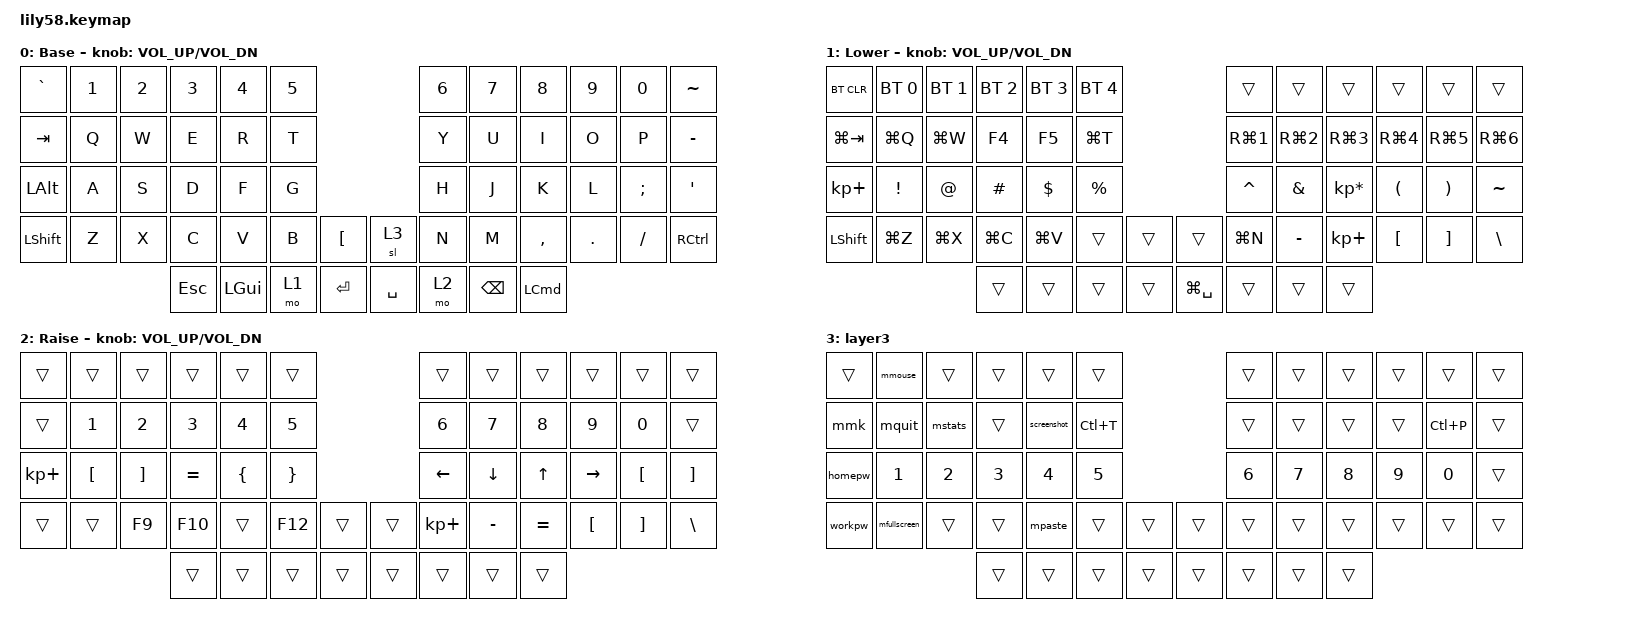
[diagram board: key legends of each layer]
/*
 * Copyright (c) 2020 The ZMK Contributors
 *
 * SPDX-License-Identifier: MIT
 */

#include <behaviors.dtsi>
#include <dt-bindings/zmk/bt.h>
#include <dt-bindings/zmk/keys.h>

/ {
    macros {
        workpw: workpw {
            compatible = "zmk,behavior-macro";
            #binding-cells = <0>;
            bindings = <&kp LS(S) &kp N &kp E &kp H &kp A &kp N1 &kp N9 &kp N9 &kp N4 &kp LS(S) &kp I &kp M &kp R &kp A &kp N &kp N1 &kp N9 &kp N9 &kp N6 &kp EXCL>;
            label = "WORKPW";
        };

        homepw: homepw {
            compatible = "zmk,behavior-macro";
            #binding-cells = <0>;
            bindings = <&kp S &kp I &kp C &kp K &kp M &kp A &kp N &kp N1>;
            label = "HOMEPW";
        };

        mquit: mquit {
            compatible = "zmk,behavior-macro";
            #binding-cells = <0>;
            bindings =
                <&macro_press>,
                <&kp LCTRL &kp LEFT_ALT &kp LEFT_SHIFT &kp Q>,
                <&macro_release>,
                <&kp LCTRL &kp LEFT_ALT &kp LEFT_SHIFT &kp Q>;

            label = "MQUIT";
            wait-ms = <0>;
            tap-ms = <0>;
        };

        mfullscreen: mfullscreen {
            compatible = "zmk,behavior-macro";
            #binding-cells = <0>;
            bindings =
                <&macro_press>,
                <&kp LCTRL &kp LEFT_ALT &kp LEFT_SHIFT &kp X>,
                <&macro_release>,
                <&kp LCTRL &kp LEFT_ALT &kp LEFT_SHIFT &kp X>;

            label = "MFULLSCREEN";
        };

        mmouse: mmouse {
            compatible = "zmk,behavior-macro";
            #binding-cells = <0>;
            bindings =
                <&macro_press>,
                <&kp LCTRL &kp LEFT_ALT &kp LEFT_SHIFT &kp M>,
                <&macro_release>,
                <&kp LCTRL &kp LEFT_ALT &kp LEFT_SHIFT &kp M>;

            label = "MMOUSE";
        };

        mstats: mstats {
            compatible = "zmk,behavior-macro";
            #binding-cells = <0>;
            bindings =
                <&macro_press>,
                <&kp LCTRL &kp LEFT_ALT &kp LEFT_SHIFT &kp S>,
                <&macro_release>,
                <&kp LCTRL &kp LEFT_ALT &kp LEFT_SHIFT &kp S>;

            label = "MSTATS";
        };

        mmk: new_macro {
            compatible = "zmk,behavior-macro";
            #binding-cells = <0>;
            bindings =
                <&macro_press>,
                <&kp LCTRL &kp LEFT_ALT &kp LEFT_SHIFT &kp Z>,
                <&macro_release>,
                <&kp LCTRL &kp LEFT_ALT &kp LEFT_SHIFT &kp Z>;

            label = "NEW_MACRO";
        };

        mpaste: mpaste {
            compatible = "zmk,behavior-macro";
            #binding-cells = <0>;
            bindings =
                <&macro_press>,
                <&kp LCTRL &kp LEFT_ALT &kp LEFT_SHIFT &kp V>,
                <&macro_release>,
                <&kp LCTRL &kp LEFT_ALT &kp LEFT_SHIFT &kp V>;

            label = "MPASTE";
        };

        screenshot: screenshot {
            compatible = "zmk,behavior-macro";
            #binding-cells = <0>;
            bindings =
                <&macro_press>,
                <&kp LCTRL &kp LCMD &kp LEFT_SHIFT &kp NUMBER_4>,
                <&macro_release>,
                <&kp LCTRL &kp LCMD &kp LEFT_SHIFT &kp NUMBER_4>;

            label = "SCREENSHOT";
        };
    };

    keymap {
        compatible = "zmk,keymap";

        default_layer {
            // ------------------------------------------------------------------------------------------------------------
            // |  ESC  |  1  |  2  |  3   |  4   |  5   |                   |  6   |  7    |  8    |  9   |   0   |   `   |
            // |  TAB  |  Q  |  W  |  E   |  R   |  T   |                   |  Y   |  U    |  I    |  O   |   P   |   -   |
            // |  CTRL |  A  |  S  |  D   |  F   |  G   |                   |  H   |  J    |  K    |  L   |   ;   |   '   |
            // | SHIFT |  Z  |  X  |  C   |  V   |  B   |   "["  |  |  "]"  |  N   |  M    |  ,    |  .   |   /   | SHIFT |
            //                     | ALT  | GUI  | LOWER|  SPACE |  | ENTER | RAISE| BSPC  | GUI   |

            display-name = "Base";
            bindings = <
&kp GRAVE  &kp N1  &kp N2  &kp N3      &kp N4    &kp N5                          &kp N6  &kp N7    &kp N8            &kp N9   &kp N0    &kp TILDE
&kp TAB    &kp Q   &kp W   &kp E       &kp R     &kp T                           &kp Y   &kp U     &kp I             &kp O    &kp P     &kp MINUS
&kp LALT   &kp A   &kp S   &kp D       &kp F     &kp G                           &kp H   &kp J     &kp K             &kp L    &kp SEMI  &kp SQT
&kp LSHFT  &kp Z   &kp X   &kp C       &kp V     &kp B   &kp LBKT     &sl 3      &kp N   &kp M     &kp COMMA         &kp DOT  &kp FSLH  &kp RCTRL
                           &kp ESCAPE  &kp LGUI  &mo 1   &kp ENTER    &kp SPACE  &mo 2   &kp BSPC  &kp LEFT_COMMAND
            >;

            sensor-bindings = <&inc_dec_kp C_VOL_UP C_VOL_DN>;
        };

        lower_layer {
            // ------------------------------------------------------------------------------------------------------------
            // | BTCLR | BT1 | BT2 |  BT3 |  BT4 |  BT5 |                   |      |       |       |      |       |       |
            // |  F1   |  F2 |  F3 |  F4  |  F5  |  F6  |                   |  F7  |  F8   |  F9   |  F10 |  F11  |  F12  |
            // |   `   |  !  |  @  |  #   |  $   |  %   |                   |  ^   |  &    |  *    |  (   |   )   |   ~   |
            // |       |     |     |      |      |      |        |  |       |      |  _    |  +    |  {   |   }   |  "|"  |
            //                     |      |      |      |        |  |       |      |       |       |

            display-name = "Lower";
            bindings = <
&bt BT_CLR   &bt BT_SEL 0  &bt BT_SEL 1  &bt BT_SEL 2  &bt BT_SEL 3  &bt BT_SEL 4                           &trans            &trans            &trans            &trans            &trans             &trans
&kp LG(TAB)  &kp LG(Q)     &kp LG(W)     &kp F4        &kp F5        &kp LG(T)                              &kp RG(NUMBER_1)  &kp RG(NUMBER_2)  &kp RG(NUMBER_3)  &kp RG(NUMBER_4)  &kp RG(N5)         &kp RG(NUMBER_6)
&kp KP_PLUS  &kp EXCL      &kp AT        &kp HASH      &kp DOLLAR    &kp PRCNT                              &kp CARET         &kp AMPS          &kp KP_MULTIPLY   &kp LPAR          &kp RPAR           &kp TILDE
&kp LSHIFT   &kp LG(Z)     &kp LG(X)     &kp LG(C)     &kp LG(V)     &trans        &trans    &trans         &kp LG(N)         &kp MINUS         &kp KP_PLUS       &kp LEFT_BRACKET  &kp RIGHT_BRACKET  &kp BACKSLASH
                                         &trans        &trans        &trans        &trans    &kp LG(SPACE)  &trans            &trans            &trans
            >;

            sensor-bindings = <&inc_dec_kp C_VOL_UP C_VOL_DN>;
        };

        raise_layer {
            // ------------------------------------------------------------------------------------------------------------
            // |       |     |     |      |      |      |                   |      |       |       |      |       |       |
            // |   `   |  1  |  2  |  3   |  4   |  5   |                   |  6   |   7   |   8   |  9   |   0   |       |
            // |   F1  |  F2 |  F3 |  F4  |  F5  |  F6  |                   |      |   <-  |   v   |  ^   |  ->   |       |
            // |   F7  |  F8 |  F9 |  F10 |  F11 |  F12 |        |  |       |  +   |   -   |   =   |  [   |   ]   |   \   |
            //                     |      |      |      |        |  |       |      |       |       |

            display-name = "Raise";
            bindings = <
&trans       &trans            &trans             &trans     &trans          &trans                             &trans          &trans          &trans        &trans     &trans            &trans
&trans       &kp NUMBER_1      &kp NUMBER_2       &kp N3     &kp N4          &kp N5                             &kp N6          &kp N7          &kp N8        &kp N9     &kp N0            &trans
&kp KP_PLUS  &kp LEFT_BRACKET  &kp RIGHT_BRACKET  &kp EQUAL  &kp LEFT_BRACE  &kp RIGHT_BRACE                    &kp LEFT_ARROW  &kp DOWN_ARROW  &kp UP_ARROW  &kp RIGHT  &kp LEFT_BRACKET  &kp RIGHT_BRACKET
&trans       &trans            &kp F9             &kp F10    &trans          &kp F12          &trans    &trans  &kp KP_PLUS     &kp MINUS       &kp EQUAL     &kp LBKT   &kp RBKT          &kp BSLH
                                                  &trans     &trans          &trans           &trans    &trans  &trans          &trans          &trans
            >;

            sensor-bindings = <&inc_dec_kp C_VOL_UP C_VOL_DN>;
        };

        layer3 {
            bindings = <
&trans   &mmouse       &trans        &trans        &trans        &trans                          &trans        &trans  &trans  &trans  &trans     &trans
&mmk     &mquit        &mstats       &trans        &screenshot   &kp LC(T)                       &trans        &trans  &trans  &trans  &kp LC(P)  &trans
&homepw  &kp NUMBER_1  &kp NUMBER_2  &kp NUMBER_3  &kp NUMBER_4  &kp NUMBER_5                    &kp NUMBER_6  &kp N7  &kp N8  &kp N9  &kp N0     &trans
&workpw  &mfullscreen  &trans        &trans        &mpaste       &trans        &trans    &trans  &trans        &trans  &trans  &trans  &trans     &trans
                                     &trans        &trans        &trans        &trans    &trans  &trans        &trans  &trans
            >;
        };
    };

    conditional_layers {
        compatible = "zmk,conditional-layers";

        both_mods {
            if-layers = <1 2>;
            then-layer = <3>;
        };
    };
};
